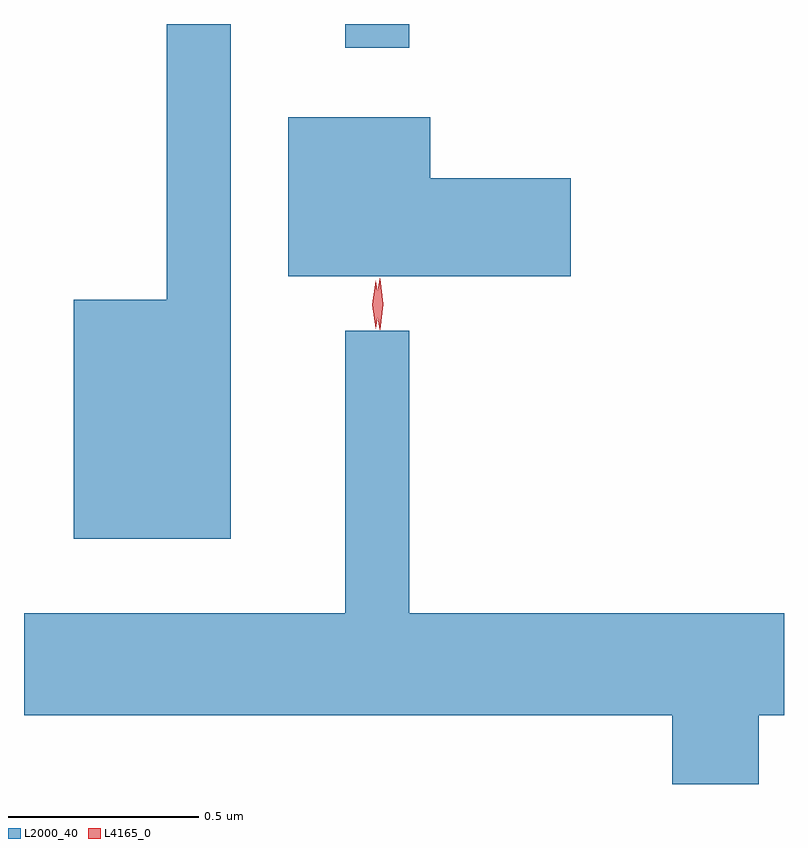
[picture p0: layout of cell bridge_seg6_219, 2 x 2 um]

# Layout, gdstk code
import gdstk
lib = gdstk.Library(unit=1e-6, precision=1e-09)
def R(c, l, rs):  # rectangles x0, y0, x1, y1
    for r in rs: c.add(gdstk.rectangle(r[:2], r[2:], *l))
def P(c, l, *ps):  # polygons
    for p in ps: c.add(gdstk.Polygon(p, *l))
L2000_40 = (2000, 40)
L4165_0 = (4165, 0)

bridge_seg6_219 = lib.new_cell('bridge_seg6_219')
R(bridge_seg6_219, L2000_40, [(1121.771,1560.673,1121.939,1560.735)])
P(bridge_seg6_219, L2000_40, [(1121.469,1560.735),(1121.301,1560.735),(1121.301,1560.009),(1121.056,1560.009),(1121.056,1559.381),(1121.469,1559.381)],
  [(1122.364,1560.329),(1121.994,1560.329),(1121.994,1560.489),(1121.621,1560.489),(1121.621,1560.071),(1122.364,1560.071)],
  [(1122.859,1558.916),(1122.925,1558.916),(1122.925,1559.184),(1121.939,1559.184),(1121.939,1559.928),(1121.771,1559.928),(1121.771,1559.184),(1120.925,1559.184),(1120.925,1558.916),(1122.631,1558.916),(1122.631,1558.735),(1122.859,1558.735)])
P(bridge_seg6_219, L4165_0, [(1121.861,1559.93),(1121.861,1559.93),(1121.851,1559.998),(1121.861,1560.065),(1121.861,1560.066),(1121.862,1560.065),(1121.871,1559.998),(1121.862,1559.93)],
  [(1121.851,1559.933),(1121.85,1559.934),(1121.841,1559.996),(1121.85,1560.06),(1121.85,1560.06),(1121.851,1560.06),(1121.861,1559.996),(1121.851,1559.934)])

lib.write_gds('bridge_seg6_219.gds')
